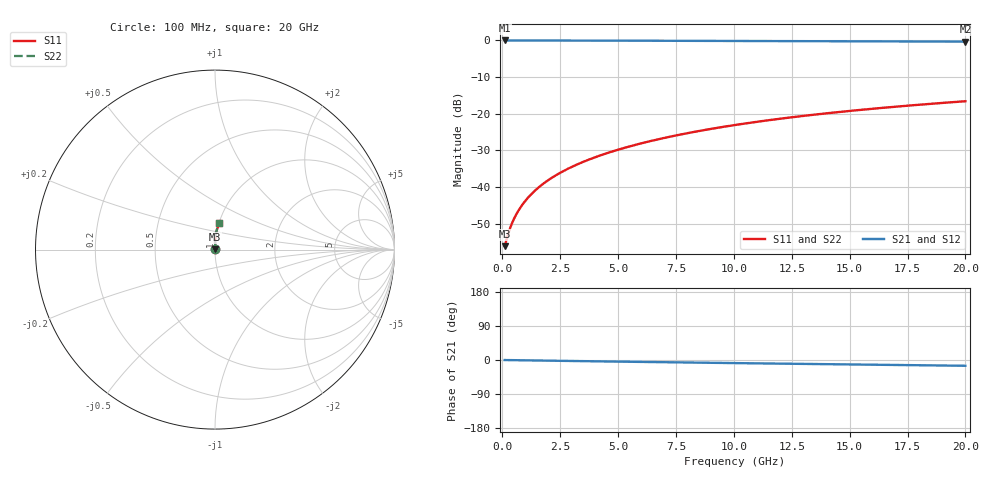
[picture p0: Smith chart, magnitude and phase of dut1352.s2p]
! Touchstone file exported from HFSS 2024.1.0
!  File:  C:/UserFiles/LocalFiles/RDL_TSV_Batchsim/temp_RDL_top_1352_1780366228.aedt
!  Generated:  10:12:45 AM Jun  2, 2026
!  Design:  RDL_top
!  Project:  temp_RDL_top_1352_1780366228
!  Setup:  Setup1
!  Solution:  Sweep
! Variables:
!  dtsv = 10.80580581um
!  hbump = 3um
!  htsv = 58.24um
!  ldown = 100um
!  lrdl = 212.43um
!  p = 40
!  p1 = 40.28um
!  rhole = 1um
!  t = 450um
!  tdown = 3.915915916um
!  trdl = 2.99um
!  wdown = 15.38538539um
!  wrdl = 22.47um
# GHz S MA R 50.000000
! Terminal data exported
! Port[1] = Box2_T1
! Port[2] = Box2_T2
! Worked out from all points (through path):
!   200 points, 100 MHz to 20 GHz, reference 50 ohm
!   highest |S21| = -0.01 dB at 100 MHz (marker M1); lowest = -0.3 dB at 20 GHz (marker M2)
!   group delay of S21, straight-line fit = 2.1 ps
!   lowest |S11| = -56.1 dB at 100 MHz (marker M3), VSWR 1.00, Z = 50.1 + j0.0714 ohm
!   |S11| at or under -10 dB: start of sweep to end of sweep
!   |S22| runs from -56.1 to -16.6 dB; largest |S21 - S12| = 4.2e-15
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0.1  0.001563 27.1  0.9986 -0.1  0.9986 -0.1  0.001563 27.1
! Gamma 0 0 0 0
! Port Impedance 50 0 50 0
0.3  0.002547 53.7  0.9985 -0.3  0.9985 -0.3  0.002547 53.7
0.4  0.003104 59.7  0.9984 -0.4  0.9984 -0.4  0.003104 59.7
0.5  0.003663 63.9  0.9983 -0.5  0.9983 -0.5  0.003663 63.9
0.6  0.004226 67.1  0.9982 -0.5  0.9982 -0.5  0.004226 67.1
0.8  0.005361 71.8  0.9981 -0.7  0.9981 -0.7  0.005361 71.8
1  0.006514 75.1  0.998 -0.9  0.998 -0.9  0.006514 75.1
1.2  0.007687 77.6  0.9978 -1.1  0.9978 -1.1  0.007687 77.6
1.4  0.008875 79.5  0.9977 -1.2  0.9977 -1.2  0.008875 79.5
1.7  0.01069 81.6  0.9974 -1.5  0.9974 -1.5  0.01069 81.6
2.2  0.01376 84.1  0.9969 -1.9  0.9969 -1.9  0.01376 84.1
2.8  0.01755 86.1  0.9962 -2.4  0.9962 -2.4  0.01755 86.1
3.5  0.02211 87.6  0.9952 -3.0  0.9952 -3.0  0.02211 87.6
4.2  0.0268 88.6  0.994 -3.6  0.994 -3.6  0.0268 88.6
5  0.03232 89.3  0.9926 -4.3  0.9926 -4.3  0.03232 89.3
6.8  0.04533 89.8  0.9889 -5.7  0.9889 -5.7  0.04533 89.8
8.4  0.05741 89.5  0.9855 -6.9  0.9855 -6.9  0.05742 89.5
10.1  0.07059 88.6  0.9819 -8.2  0.9819 -8.2  0.07059 88.6
11.7  0.08316 87.5  0.9786 -9.4  0.9786 -9.4  0.08316 87.5
13.4  0.09658 86.2  0.9752 -10.6  0.9752 -10.6  0.09658 86.2
16.7  0.1225 83.4  0.9689 -12.9  0.9689 -12.9  0.1225 83.4
20  0.1481 80.6  0.9627 -15.3  0.9627 -15.3  0.1481 80.6
